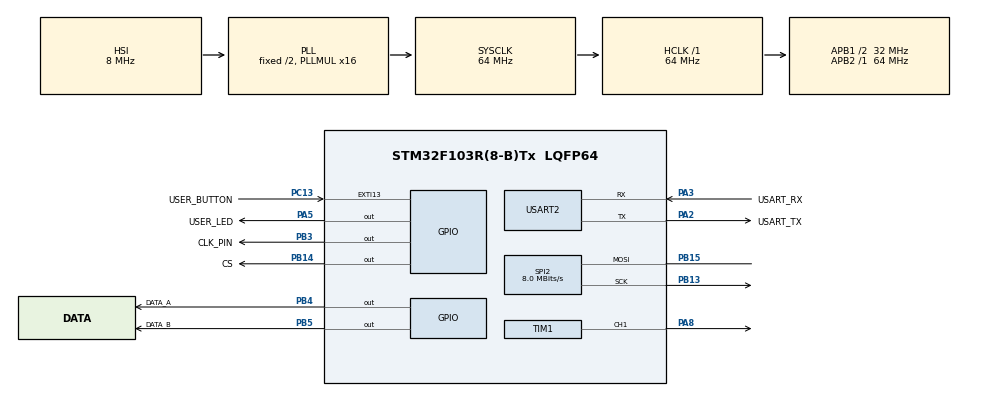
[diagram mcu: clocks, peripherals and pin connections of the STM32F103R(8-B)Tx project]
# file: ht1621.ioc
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Mcu.Family=STM32F1
Mcu.Name=STM32F103R(8-B)Tx
Mcu.Package=LQFP64
NVIC.EXTI15_10_IRQn=true\:0\:0\:false\:false\:true\:true\:true\:true
NVIC.PriorityGroup=NVIC_PRIORITYGROUP_4
NVIC.SPI2_IRQn=true\:0\:0\:false\:false\:true\:true\:true\:true
PA13.GPIO_Label=TMS
PA13.Mode=Serial_Wire
PA13.Signal=SYS_JTMS-SWDIO
PA14.GPIO_Label=TCK
PA14.Mode=Serial_Wire
PA14.Signal=SYS_JTCK-SWCLK
PA2.GPIO_Label=USART_TX
PA2.GPIO_Mode=GPIO_MODE_AF_PP
PA2.GPIO_PuPd=GPIO_NOPULL
PA2.GPIO_Speed=GPIO_SPEED_FREQ_LOW
PA2.Mode=Asynchronous
PA2.Signal=USART2_TX
PA3.GPIO_Label=USART_RX
PA3.GPIO_Mode=GPIO_MODE_AF_PP
PA3.GPIO_PuPd=GPIO_NOPULL
PA3.GPIO_Speed=GPIO_SPEED_FREQ_LOW
PA3.Mode=Asynchronous
PA3.Signal=USART2_RX
PA5.GPIO_Label=USER_LED
PA5.GPIO_ModeDefaultOutputPP=GPIO_MODE_OUTPUT_PP
PA5.GPIO_PuPd=GPIO_NOPULL
PA5.GPIO_Speed=GPIO_SPEED_FREQ_LOW
PA5.Signal=GPIO_Output
PA8.Signal=S_TIM1_CH1
PB13.Mode=Simplex_Bidirectional_Master
PB13.Signal=SPI2_SCK
PB14.GPIO_Label=CS
PB14.Signal=GPIO_Output
PB15.Mode=Simplex_Bidirectional_Master
PB15.Signal=SPI2_MOSI
PB3.GPIO_Label=CLK_PIN
PB3.Signal=GPIO_Output
PB4.GPIO_Label=DATA_A
PB4.Signal=GPIO_Output
PB5.GPIO_Label=DATA_B
PB5.Signal=GPIO_Output
PC13-TAMPER-RTC.GPIO_Label=USER_BUTTON
PC13-TAMPER-RTC.GPIO_PuPd=GPIO_NOPULL
PC13-TAMPER-RTC.Signal=GPXTI13
PD0-OSC_IN.Mode=HSE-External-Clock-Source
PD0-OSC_IN.Signal=RCC_OSC_IN
PD1-OSC_OUT.Mode=HSE-External-Clock-Source
PD1-OSC_OUT.Signal=RCC_OSC_OUT
ProjectManager.HeapSize=0x200
ProjectManager.StackSize=0x400
ProjectManager.TargetToolchain=CMake
RCC.AHBFreq_Value=64000000
RCC.APB1CLKDivider=RCC_HCLK_DIV2
RCC.APB1Freq_Value=32000000
RCC.APB1TimFreq_Value=64000000
RCC.APB2Freq_Value=64000000
RCC.APB2TimFreq_Value=64000000
RCC.HCLKFreq_Value=64000000
RCC.PLLMUL=RCC_PLL_MUL16
RCC.RTCClockSelection=RCC_RTCCLKSOURCE_LSE
RCC.SYSCLKFreq_VALUE=64000000
RCC.SYSCLKSource=RCC_SYSCLKSOURCE_PLLCLK
RCC.USBFreq_Value=64000000
SH.S_TIM1_CH1.0=TIM1_CH1,PWM Generation1 CH1
SPI2.BaudRatePrescaler=SPI_BAUDRATEPRESCALER_4
SPI2.CalculateBaudRate=8.0 MBits/s
SPI2.Direction=SPI_DIRECTION_1LINE
SPI2.Mode=SPI_MODE_MASTER
SPI2.VirtualType=VM_MASTER
TIM1.Channel-PWM\ Generation1\ CH1=TIM_CHANNEL_1
TIM1.Period=1000-1
TIM1.Prescaler=6400-1
TIM1.Pulse-PWM\ Generation1\ CH1=500
USART2.VirtualMode=VM_ASYNC
board=NUCLEO-F103RB

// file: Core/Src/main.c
/* USER CODE BEGIN Header */
/**
  ******************************************************************************
  * @file           : main.c
  * @brief          : Main program body
  ******************************************************************************
  * @attention
  *
  * Copyright (c) 2026 STMicroelectronics.
  * All rights reserved.
  *
  * This software is licensed under terms that can be found in the LICENSE file
  * in the root directory of this software component.
  * If no LICENSE file comes with this software, it is provided AS-IS.
  *
  ******************************************************************************
  */
/* USER CODE END Header */
#include "main.h"
#include "spi.h"
#include "stm32f1xx_hal.h"
#include "stm32f1xx_hal_gpio.h"
#include "stm32f1xx_hal_tim.h"
#include "tim.h"
#include "usart.h"
#include "gpio.h"

/* USER CODE BEGIN Includes */
#include "ht1621b.h"
/* USER CODE END Includes */

/* USER CODE BEGIN PTD */
void IV6_WritePin(GPIO_PinState state);
/* USER CODE END PTD */

uint8_t counter = 0;

/* USER CODE BEGIN PV */
HT1621B_HandleTypeDef hlcd;
/* USER CODE END PV */

void SystemClock_Config(void);

int main(void)
{

  /* MCU Configuration--------------------------------------------------------*/

  /* Reset of all peripherals, Initializes the Flash interface and the Systick. */
  HAL_Init();

  /* Configure the system clock */
  SystemClock_Config();

  /* Initialize all configured peripherals */
  MX_GPIO_Init();
  MX_USART2_UART_Init();
  MX_SPI2_Init();
  MX_TIM1_Init();

  /* USER CODE BEGIN 2 */
  // HT1621B_Init(&hlcd, &hspi2, CS_GPIO_Port, CS_Pin, 13);

  // HT1621B_SetAll(&hlcd);

  // HAL_Delay(2000);

  // HT1621B_PowerDown(&hlcd);

  // Start PWM signal on TIM1 Channel 1
  //HAL_TIM_PWM_Start(&htim1, TIM_CHANNEL_1);
HAL_GPIO_WritePin(DATA_B_GPIO_Port, DATA_B_Pin, GPIO_PIN_SET);
  /* USER CODE END 2 */

  /* Infinite loop */
  while (1)
  {

    /* USER CODE BEGIN 3 */

    // LOGIKA JEST ODWROTNA, CZYLI 1 TO SET, A 0 TO RESET, dodatkowo wypoisywany jest MSB pierwszy, czyli 7, potem 6 itd. do 0
    for(size_t i = 0; i < 8; i++)
    {
      if(counter == i)
      {
        IV6_WritePin(GPIO_PIN_RESET);
      } else {
        IV6_WritePin(GPIO_PIN_SET);
      }
    }

    counter++;
    if(counter > 7) counter = 0;

    HAL_Delay(350);

  }
  /* USER CODE END 3 */
}

void SystemClock_Config(void)
{
  RCC_OscInitTypeDef RCC_OscInitStruct = {0};
  RCC_ClkInitTypeDef RCC_ClkInitStruct = {0};

  /** Initializes the RCC Oscillators according to the specified parameters
  * in the RCC_OscInitTypeDef structure.
  */
  RCC_OscInitStruct.OscillatorType = RCC_OSCILLATORTYPE_HSI;
  RCC_OscInitStruct.HSIState = RCC_HSI_ON;
  RCC_OscInitStruct.HSICalibrationValue = RCC_HSICALIBRATION_DEFAULT;
  RCC_OscInitStruct.PLL.PLLState = RCC_PLL_ON;
  RCC_OscInitStruct.PLL.PLLSource = RCC_PLLSOURCE_HSI_DIV2;
  RCC_OscInitStruct.PLL.PLLMUL = RCC_PLL_MUL16;
  if (HAL_RCC_OscConfig(&RCC_OscInitStruct) != HAL_OK)
  {
    Error_Handler();
  }

  /** Initializes the CPU, AHB and APB buses clocks
  */
  RCC_ClkInitStruct.ClockType = RCC_CLOCKTYPE_HCLK|RCC_CLOCKTYPE_SYSCLK
                              |RCC_CLOCKTYPE_PCLK1|RCC_CLOCKTYPE_PCLK2;
  RCC_ClkInitStruct.SYSCLKSource = RCC_SYSCLKSOURCE_PLLCLK;
  RCC_ClkInitStruct.AHBCLKDivider = RCC_SYSCLK_DIV1;
  RCC_ClkInitStruct.APB1CLKDivider = RCC_HCLK_DIV2;
  RCC_ClkInitStruct.APB2CLKDivider = RCC_HCLK_DIV1;

  if (HAL_RCC_ClockConfig(&RCC_ClkInitStruct, FLASH_LATENCY_2) != HAL_OK)
  {
    Error_Handler();
  }
}

/* USER CODE BEGIN 4 */

void IV6_WritePin(GPIO_PinState state)
{
  HAL_GPIO_WritePin(CLK_PIN_GPIO_Port, CLK_PIN_Pin, GPIO_PIN_RESET);
  HAL_GPIO_WritePin(DATA_A_GPIO_Port, DATA_A_Pin, state);
  HAL_GPIO_WritePin(CLK_PIN_GPIO_Port, CLK_PIN_Pin, GPIO_PIN_SET);
  HAL_GPIO_WritePin(CLK_PIN_GPIO_Port, CLK_PIN_Pin, GPIO_PIN_RESET);
}

/* USER CODE END 4 */

void Error_Handler(void)
{
  __disable_irq();
  while (1)
  {
  }
}
